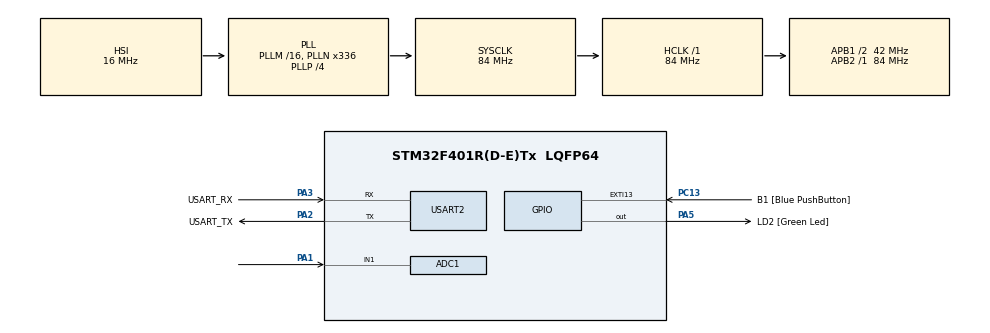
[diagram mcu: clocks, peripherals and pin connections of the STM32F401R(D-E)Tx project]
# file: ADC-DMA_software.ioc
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ADC1.Channel-0\#ChannelRegularConversion=ADC_CHANNEL_1
ADC1.Channel-1\#ChannelRegularConversion=ADC_CHANNEL_TEMPSENSOR
ADC1.Channel-2\#ChannelRegularConversion=ADC_CHANNEL_VREFINT
ADC1.NbrOfConversion=3
ADC1.NbrOfConversionFlag=1
ADC1.Rank-0\#ChannelRegularConversion=1
ADC1.Rank-1\#ChannelRegularConversion=2
ADC1.Rank-2\#ChannelRegularConversion=3
ADC1.SamplingTime-0\#ChannelRegularConversion=ADC_SAMPLETIME_480CYCLES
ADC1.SamplingTime-1\#ChannelRegularConversion=ADC_SAMPLETIME_480CYCLES
ADC1.SamplingTime-2\#ChannelRegularConversion=ADC_SAMPLETIME_480CYCLES
ADC1.master=1
Dma.ADC1.0.Direction=DMA_PERIPH_TO_MEMORY
Dma.ADC1.0.FIFOMode=DMA_FIFOMODE_DISABLE
Dma.ADC1.0.Instance=DMA2_Stream0
Dma.ADC1.0.MemDataAlignment=DMA_MDATAALIGN_HALFWORD
Dma.ADC1.0.MemInc=DMA_MINC_ENABLE
Dma.ADC1.0.Mode=DMA_CIRCULAR
Dma.ADC1.0.PeriphDataAlignment=DMA_PDATAALIGN_HALFWORD
Dma.ADC1.0.PeriphInc=DMA_PINC_DISABLE
Dma.ADC1.0.Priority=DMA_PRIORITY_LOW
Dma.Request0=ADC1
Mcu.Family=STM32F4
Mcu.Name=STM32F401R(D-E)Tx
Mcu.Package=LQFP64
NVIC.ADC_IRQn=true\:0\:0\:false\:false\:true\:true\:true
NVIC.DMA2_Stream0_IRQn=true\:0\:0\:false\:false\:true\:false\:true
NVIC.PriorityGroup=NVIC_PRIORITYGROUP_0
PA1.Signal=ADCx_IN1
PA13.GPIO_Label=TMS
PA13.Mode=Serial_Wire
PA13.Signal=SYS_JTMS-SWDIO
PA14.GPIO_Label=TCK
PA14.Mode=Serial_Wire
PA14.Signal=SYS_JTCK-SWCLK
PA2.GPIO_Label=USART_TX
PA2.GPIO_Mode=GPIO_MODE_AF_PP
PA2.GPIO_PuPd=GPIO_NOPULL
PA2.GPIO_Speed=GPIO_SPEED_FREQ_LOW
PA2.Mode=Asynchronous
PA2.Signal=USART2_TX
PA3.GPIO_Label=USART_RX
PA3.GPIO_Mode=GPIO_MODE_AF_PP
PA3.GPIO_PuPd=GPIO_NOPULL
PA3.GPIO_Speed=GPIO_SPEED_FREQ_LOW
PA3.Mode=Asynchronous
PA3.Signal=USART2_RX
PA5.GPIO_Label=LD2 [Green Led]
PA5.GPIO_Mode=GPIO_MODE_OUTPUT_PP
PA5.GPIO_PuPd=GPIO_NOPULL
PA5.GPIO_Speed=GPIO_SPEED_FREQ_LOW
PA5.Signal=GPIO_Output
PB3.GPIO_Label=SWO
PB3.Signal=SYS_JTDO-SWO
PC13-ANTI_TAMP.GPIO_Label=B1 [Blue PushButton]
PC13-ANTI_TAMP.GPIO_ModeDefaultEXTI=GPIO_MODE_IT_FALLING
PC13-ANTI_TAMP.GPIO_PuPd=GPIO_NOPULL
PC13-ANTI_TAMP.Signal=GPXTI13
PC14-OSC32_IN.Mode=LSE-External-Oscillator
PC14-OSC32_IN.Signal=RCC_OSC32_IN
PC15-OSC32_OUT.Mode=LSE-External-Oscillator
PC15-OSC32_OUT.Signal=RCC_OSC32_OUT
PH0\ -\ OSC_IN.Mode=HSE-External-Clock-Source
PH0\ -\ OSC_IN.Signal=RCC_OSC_IN
PH1\ -\ OSC_OUT.Mode=HSE-External-Clock-Source
PH1\ -\ OSC_OUT.Signal=RCC_OSC_OUT
ProjectManager.HeapSize=0x200
ProjectManager.StackSize=0x400
ProjectManager.TargetToolchain=STM32CubeIDE
RCC.48MHZClocksFreq_Value=48000000
RCC.AHBFreq_Value=84000000
RCC.APB1CLKDivider=RCC_HCLK_DIV2
RCC.APB1Freq_Value=42000000
RCC.APB1TimFreq_Value=84000000
RCC.APB2Freq_Value=84000000
RCC.APB2TimFreq_Value=84000000
RCC.CortexFreq_Value=84000000
RCC.HCLKFreq_Value=84000000
RCC.HSE_VALUE=8000000
RCC.HSI_VALUE=16000000
RCC.PLLN=336
RCC.PLLP=RCC_PLLP_DIV4
RCC.PLLQ=7
RCC.SYSCLKFreq_VALUE=84000000
RCC.SYSCLKSource=RCC_SYSCLKSOURCE_PLLCLK
RCC.VCOOutputFreq_Value=336000000
SH.ADCx_IN1.0=ADC1_IN1,IN1
USART2.VirtualMode=VM_ASYNC
VP_ADC1_TempSens_Input.Mode=IN-TempSens
VP_ADC1_Vref_Input.Mode=IN-Vrefint
board=NUCLEO-F401RE

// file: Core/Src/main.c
/* USER CODE BEGIN Header */
/**
 ******************************************************************************
 * @file           : main.c
 * @brief          : DMA (software enabled) reading potentiometer, temperature and Vref
 ******************************************************************************
 * @attention
 *
 * <h2><center>&copy; Copyright (c) 2021 STMicroelectronics.
 * All rights reserved.</center></h2>
 *
 * This software component is licensed by ST under BSD 3-Clause license,
 * the "License"; You may not use this file except in compliance with the
 * License. You may obtain a copy of the License at:
 *                        opensource.org/licenses/BSD-3-Clause
 *
 ******************************************************************************
 */
/* USER CODE END Header */
#include "main.h"

/* USER CODE BEGIN Includes */
#include <string.h>
#include <stdio.h>
/* USER CODE END Includes */

ADC_HandleTypeDef hadc1;
DMA_HandleTypeDef hdma_adc1;

UART_HandleTypeDef huart2;

/* USER CODE BEGIN PV */
struct Data {
	float potentiometer;
	float temperature;
	float Vref;
};
uint16_t data[3];
/* USER CODE END PV */

void SystemClock_Config(void);
static void MX_GPIO_Init(void);
static void MX_USART2_UART_Init(void);
static void MX_DMA_Init(void);
static void MX_ADC1_Init(void);

int main(void) {

	/* MCU Configuration--------------------------------------------------------*/

	/* Reset of all peripherals, Initializes the Flash interface and the Systick. */
	HAL_Init();

	/* Configure the system clock */
	SystemClock_Config();

	/* Initialize all configured peripherals */
	MX_GPIO_Init();
	MX_USART2_UART_Init();
	MX_DMA_Init();
	MX_ADC1_Init();

	/* Infinite loop */
	/* USER CODE BEGIN WHILE */
	while (1) {
		HAL_ADC_Start_DMA(&hadc1, data, sizeof(data) / sizeof(data[0]));
		HAL_Delay(1000);
		/* USER CODE END WHILE */

	}
}

void SystemClock_Config(void) {
	RCC_OscInitTypeDef RCC_OscInitStruct = { 0 };
	RCC_ClkInitTypeDef RCC_ClkInitStruct = { 0 };

	/** Configure the main internal regulator output voltage
	 */
	__HAL_RCC_PWR_CLK_ENABLE();
	__HAL_PWR_VOLTAGESCALING_CONFIG(PWR_REGULATOR_VOLTAGE_SCALE2);
	/** Initializes the RCC Oscillators according to the specified parameters
	 * in the RCC_OscInitTypeDef structure.
	 */
	RCC_OscInitStruct.OscillatorType = RCC_OSCILLATORTYPE_HSI;
	RCC_OscInitStruct.HSIState = RCC_HSI_ON;
	RCC_OscInitStruct.HSICalibrationValue = RCC_HSICALIBRATION_DEFAULT;
	RCC_OscInitStruct.PLL.PLLState = RCC_PLL_ON;
	RCC_OscInitStruct.PLL.PLLSource = RCC_PLLSOURCE_HSI;
	RCC_OscInitStruct.PLL.PLLM = 16;
	RCC_OscInitStruct.PLL.PLLN = 336;
	RCC_OscInitStruct.PLL.PLLP = RCC_PLLP_DIV4;
	RCC_OscInitStruct.PLL.PLLQ = 7;
	if (HAL_RCC_OscConfig(&RCC_OscInitStruct) != HAL_OK) {
		Error_Handler();
	}
	/** Initializes the CPU, AHB and APB buses clocks
	 */
	RCC_ClkInitStruct.ClockType = RCC_CLOCKTYPE_HCLK | RCC_CLOCKTYPE_SYSCLK
			| RCC_CLOCKTYPE_PCLK1 | RCC_CLOCKTYPE_PCLK2;
	RCC_ClkInitStruct.SYSCLKSource = RCC_SYSCLKSOURCE_PLLCLK;
	RCC_ClkInitStruct.AHBCLKDivider = RCC_SYSCLK_DIV1;
	RCC_ClkInitStruct.APB1CLKDivider = RCC_HCLK_DIV2;
	RCC_ClkInitStruct.APB2CLKDivider = RCC_HCLK_DIV1;

	if (HAL_RCC_ClockConfig(&RCC_ClkInitStruct, FLASH_LATENCY_2) != HAL_OK) {
		Error_Handler();
	}
}

static void MX_ADC1_Init(void) {

	ADC_ChannelConfTypeDef sConfig = { 0 };

	/** Configure the global features of the ADC (Clock, Resolution, Data Alignment and number of conversion)
	 */
	hadc1.Instance = ADC1;
	hadc1.Init.ClockPrescaler = ADC_CLOCK_SYNC_PCLK_DIV4;
	hadc1.Init.Resolution = ADC_RESOLUTION_12B;
	hadc1.Init.ScanConvMode = ENABLE;
	hadc1.Init.ContinuousConvMode = DISABLE;
	hadc1.Init.DiscontinuousConvMode = DISABLE;
	hadc1.Init.ExternalTrigConvEdge = ADC_EXTERNALTRIGCONVEDGE_NONE;
	hadc1.Init.ExternalTrigConv = ADC_SOFTWARE_START;
	hadc1.Init.DataAlign = ADC_DATAALIGN_RIGHT;
	hadc1.Init.NbrOfConversion = 3;
	hadc1.Init.DMAContinuousRequests = DISABLE;
	hadc1.Init.EOCSelection = ADC_EOC_SINGLE_CONV;
	if (HAL_ADC_Init(&hadc1) != HAL_OK) {
		Error_Handler();
	}
	/** Configure for the selected ADC regular channel its corresponding rank in the sequencer and its sample time.
	 */
	sConfig.Channel = ADC_CHANNEL_1;
	sConfig.Rank = 1;
	sConfig.SamplingTime = ADC_SAMPLETIME_480CYCLES;
	if (HAL_ADC_ConfigChannel(&hadc1, &sConfig) != HAL_OK) {
		Error_Handler();
	}
	/** Configure for the selected ADC regular channel its corresponding rank in the sequencer and its sample time.
	 */
	sConfig.Channel = ADC_CHANNEL_TEMPSENSOR;
	sConfig.Rank = 2;
	if (HAL_ADC_ConfigChannel(&hadc1, &sConfig) != HAL_OK) {
		Error_Handler();
	}
	/** Configure for the selected ADC regular channel its corresponding rank in the sequencer and its sample time.
	 */
	sConfig.Channel = ADC_CHANNEL_VREFINT;
	sConfig.Rank = 3;
	if (HAL_ADC_ConfigChannel(&hadc1, &sConfig) != HAL_OK) {
		Error_Handler();
	}

}

static void MX_USART2_UART_Init(void) {

	huart2.Instance = USART2;
	huart2.Init.BaudRate = 115200;
	huart2.Init.WordLength = UART_WORDLENGTH_8B;
	huart2.Init.StopBits = UART_STOPBITS_1;
	huart2.Init.Parity = UART_PARITY_NONE;
	huart2.Init.Mode = UART_MODE_TX_RX;
	huart2.Init.HwFlowCtl = UART_HWCONTROL_NONE;
	huart2.Init.OverSampling = UART_OVERSAMPLING_16;
	if (HAL_UART_Init(&huart2) != HAL_OK) {
		Error_Handler();
	}

}

static void MX_DMA_Init(void) {

	/* DMA controller clock enable */
	__HAL_RCC_DMA2_CLK_ENABLE();

	/* DMA interrupt init */
	/* DMA2_Stream0_IRQn interrupt configuration */
	HAL_NVIC_SetPriority(DMA2_Stream0_IRQn, 0, 0);
	HAL_NVIC_EnableIRQ(DMA2_Stream0_IRQn);

}

static void MX_GPIO_Init(void) {
	GPIO_InitTypeDef GPIO_InitStruct = { 0 };

	/* GPIO Ports Clock Enable */
	__HAL_RCC_GPIOC_CLK_ENABLE();
	__HAL_RCC_GPIOH_CLK_ENABLE();
	__HAL_RCC_GPIOA_CLK_ENABLE();
	__HAL_RCC_GPIOB_CLK_ENABLE();

	/*Configure GPIO pin Output Level */
	HAL_GPIO_WritePin(LD2_GPIO_Port, LD2_Pin, GPIO_PIN_RESET);

	/*Configure GPIO pin : B1_Pin */
	GPIO_InitStruct.Pin = B1_Pin;
	GPIO_InitStruct.Mode = GPIO_MODE_IT_FALLING;
	GPIO_InitStruct.Pull = GPIO_NOPULL;
	HAL_GPIO_Init(B1_GPIO_Port, &GPIO_InitStruct);

	/*Configure GPIO pin : LD2_Pin */
	GPIO_InitStruct.Pin = LD2_Pin;
	GPIO_InitStruct.Mode = GPIO_MODE_OUTPUT_PP;
	GPIO_InitStruct.Pull = GPIO_NOPULL;
	GPIO_InitStruct.Speed = GPIO_SPEED_FREQ_LOW;
	HAL_GPIO_Init(LD2_GPIO_Port, &GPIO_InitStruct);

}

/* USER CODE BEGIN 4 */
void HAL_ADC_ConvCpltCallback(ADC_HandleTypeDef *hadc) {
	char string[64];
	struct Data dataStruct;
	dataStruct.potentiometer = (float) data[0] * 3.3 / 4096.0;
	dataStruct.temperature = ((float) data[1] * 3.3 / 4096.0 - 0.76) / 2.5 + 25;
	dataStruct.Vref = (float) data[2] * 3.3 / 4096.0;
	sprintf(string, "Potentiometer: %.3fV, Temp: %.3f C, Vref: %.3f V\r\n",
			dataStruct.potentiometer, dataStruct.temperature, dataStruct.Vref);
	HAL_UART_Transmit(&huart2, string, strlen(string), 1000);
}
/* USER CODE END 4 */

void Error_Handler(void) {
	__disable_irq();
	while (1) {
	}
}

/************************ (C) COPYRIGHT STMicroelectronics *****END OF FILE****/
